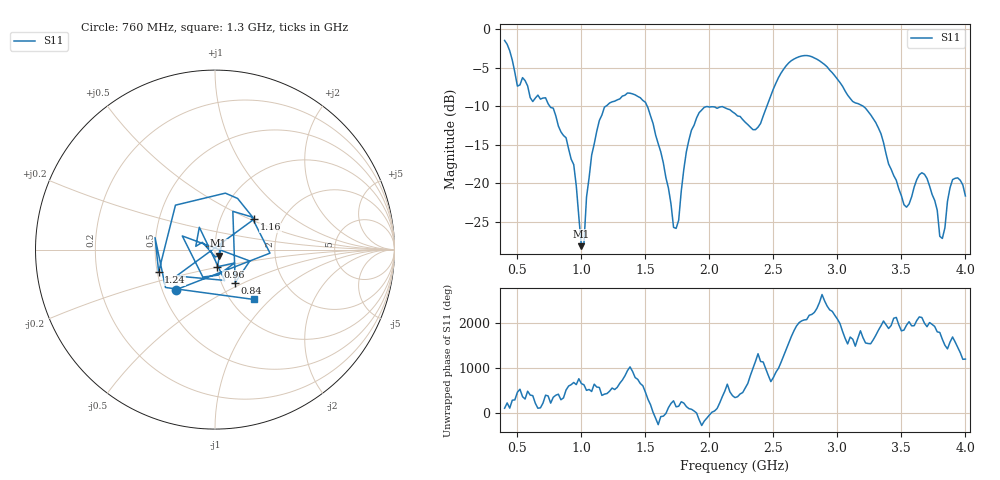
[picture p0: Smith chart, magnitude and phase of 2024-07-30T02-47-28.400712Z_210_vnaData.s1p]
!Created with skrf (http://scikit-rf.org).
# Hz S RI R 50.0
!freq ReS11 ImS11
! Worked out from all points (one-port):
!   181 points, 400 MHz to 4 GHz, reference 50 ohm
!   lowest |S11| = -28.1 dB at 1 GHz (marker M1), VSWR 1.08, Z = 51.9 - j3.52 ohm
!   |S11| at or under -10 dB: 752.9 MHz to 1.191 GHz (438.5 MHz wide, 45.1 % of centre); 1.514 GHz to 2.449 GHz (934.5 MHz wide, 47.2 % of centre); 3.201 GHz to end of sweep
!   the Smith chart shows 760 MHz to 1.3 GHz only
!   S11 on the Smith chart (normalised r, x): 760 MHz: 0.59, -0.29; 840 MHz: 1.16, -0.45; 960 MHz: 1.01, -0.19; 1.16 GHz: 1.44, +0.53; 1.24 GHz: 0.51, -0.14; 1.3 GHz: 1.27, -0.80
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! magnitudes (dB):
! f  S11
! 400 MHz  -1.5
! 500 MHz  -7.4
! 760 MHz  -10.2
! 840 MHz  -13.3
! 860 MHz  -13.8
! 960 MHz  -20.3
! 1 GHz  -28.1
! 1.02 GHz  -27.8
! 1.08 GHz  -16.4
! 1.16 GHz  -11.2
! 1.24 GHz  -9.4
! 1.3 GHz  -9.1
! 1.5 GHz  -9.5
! 1.64 GHz  -17.3
! 1.72 GHz  -25.7
! 1.76 GHz  -24.8
! 1.82 GHz  -15.9
! 1.92 GHz  -10.8
! 2.2 GHz  -11.0
! 2.36 GHz  -13.0
! 2.66 GHz  -3.9
! 3.1 GHz  -9.0
! 3.3 GHz  -12.1
! 3.56 GHz  -22.7
! 3.68 GHz  -18.8
! 3.82 GHz  -27.1
! 3.9 GHz  -19.5
! 4 GHz  -21.6
